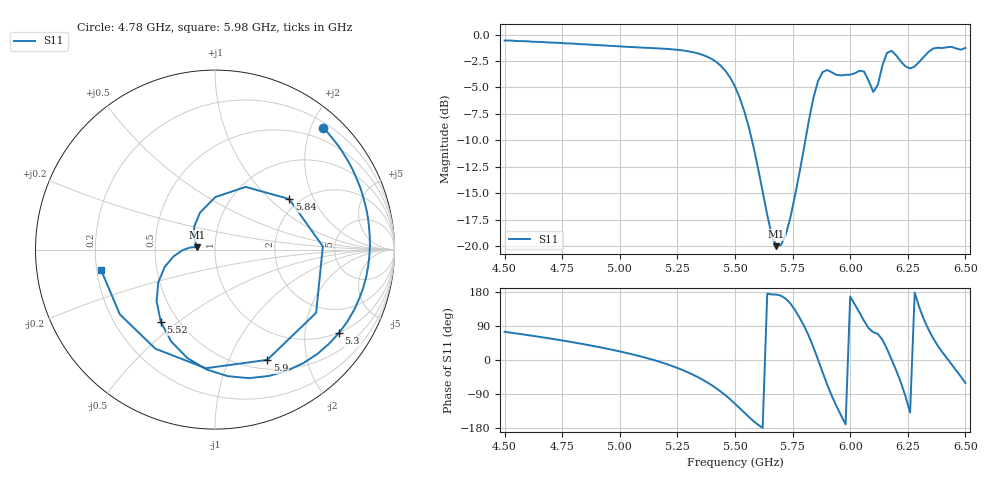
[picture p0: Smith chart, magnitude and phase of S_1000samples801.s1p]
! TOUCHSTONE file generated by CST MICROWAVE STUDIO
! Date and time: Sat Oct 29 10:44:04 2022
! Project name: L.cst
! Parameters = {Di=1.27; Epsilon_r=1.56; InnerDiameter=1.27; Length=2; Lf=10; Lg=60; OuterConductorThickness=0.2921; OuterDiameter=3.6; Wf=3; Wp=41.2; de=1.5; df=6.8; g=0.8; gx=2.56056; gy=1.83408; h=2.34; hf=1.524; px=8.63213; py=13.9631; w=9.7; wx=6.07157; wy=12.129}
! Header version: 2018
! Port assignment regex: !\s*Touchstone port\s*([0-9]+)\s*=\s*(CST MWS port|CST DS port)\s*([0-9]+|Zmin|Zmax)\s*\(\"(.*)\"\)(\s*mode\s*([0-9]+))?.*
! Touchstone port assignment:
! Touchstone port 1 = CST MWS port 1 ("")
# GHz S DB R 50
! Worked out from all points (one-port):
!   101 points, 4.5 GHz to 6.5 GHz, reference 50 ohm
!   lowest |S11| = -20.0 dB at 5.68 GHz (marker M1), VSWR 1.22, Z = 41 + j1.05 ohm
!   |S11| at or under -10 dB: 5.574 GHz to 5.805 GHz (231.8 MHz wide, 4.07 % of centre)
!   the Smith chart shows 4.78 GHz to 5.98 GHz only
!   S11 on the Smith chart (normalised r, x): 4.78 GHz: 0.28, +2.19; 5.3 GHz: 0.99, -2.99; 5.52 GHz: 0.40, -0.43; 5.84 GHz: 1.77, +1.33; 5.9 GHz: 0.61, -1.40; 5.98 GHz: 0.22, -0.08
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4.5  -0.57 74.4
4.76  -0.83 50.5
4.78  -0.84 48.5
5  -1.11 22.6
5.26  -1.46 -23.5
5.3  -1.59 -33.8
5.42  -2.61 -75.2
5.5  -4.92 -115.4
5.52  -5.96 -126.8
5.68  -20.01 172.7
5.76  -15.27 132.3
5.84  -6.02 34.3
5.88  -3.55 -32.0
5.9  -3.35 -64.6
5.94  -3.82 -121.0
5.98  -3.81 -169.9
6  -3.79 167.4
6.06  -3.50 103.3
6.14  -2.91 53.5
6.18  -1.54 0.8
6.22  -2.55 -59.4
6.26  -3.21 -138.4
6.28  -3.02 177.8
6.3  -2.58 138.7
6.34  -1.64 80.4
6.38  -1.25 37.6
6.42  -1.20 4.8
6.5  -1.26 -60.7
